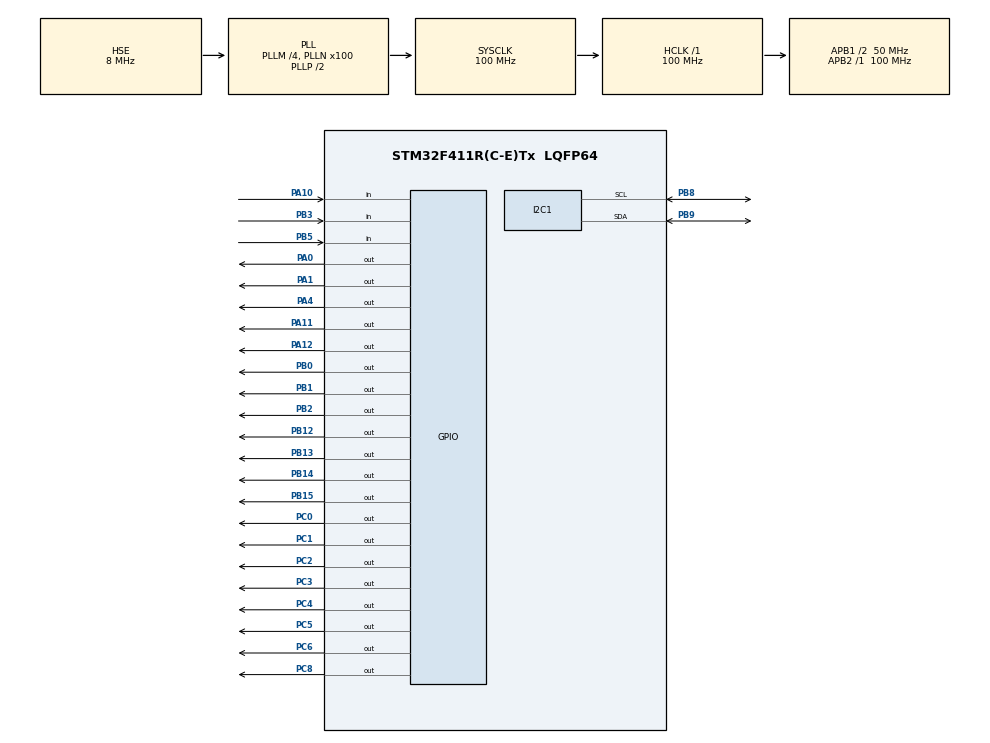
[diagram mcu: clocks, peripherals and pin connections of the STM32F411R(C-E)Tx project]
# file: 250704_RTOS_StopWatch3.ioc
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FREERTOS.Tasks01=defaultTask,0,128,StartDefaultTask,Default,NULL,Dynamic,NULL,NULL;myListenerTask,0,128,StartListenerTask,Default,NULL,Dynamic,NULL,NULL;myControllerTas,0,128,StartControllerTask,Default,NULL,Dynamic,NULL,NULL;myPresenterTask,0,128,StartPresenterTask,Default,NULL,Dynamic,NULL,NULL
FREERTOS.configUSE_NEWLIB_REENTRANT=1
Mcu.Family=STM32F4
Mcu.Name=STM32F411R(C-E)Tx
Mcu.Package=LQFP64
NVIC.PriorityGroup=NVIC_PRIORITYGROUP_4
NVIC.TIM1_TRG_COM_TIM11_IRQn=true\:15\:0\:false\:false\:true\:false\:false\:true\:true
NVIC.TIM2_IRQn=true\:5\:0\:false\:false\:true\:true\:true\:true\:true
NVIC.TimeBase=TIM1_TRG_COM_TIM11_IRQn
NVIC.TimeBaseIP=TIM11
PA0-WKUP.Signal=GPIO_Output
PA1.Signal=GPIO_Output
PA10.Signal=GPIO_Input
PA11.Signal=GPIO_Output
PA12.Signal=GPIO_Output
PA13.Mode=Serial_Wire
PA13.Signal=SYS_JTMS-SWDIO
PA14.Mode=Serial_Wire
PA14.Signal=SYS_JTCK-SWCLK
PA4.Signal=GPIO_Output
PB0.Signal=GPIO_Output
PB1.Signal=GPIO_Output
PB12.Signal=GPIO_Output
PB13.Signal=GPIO_Output
PB14.Signal=GPIO_Output
PB15.Signal=GPIO_Output
PB2.Signal=GPIO_Output
PB3.Signal=GPIO_Input
PB5.Signal=GPIO_Input
PB8.Mode=I2C
PB8.Signal=I2C1_SCL
PB9.Mode=I2C
PB9.Signal=I2C1_SDA
PC0.Signal=GPIO_Output
PC1.Signal=GPIO_Output
PC2.Signal=GPIO_Output
PC3.Signal=GPIO_Output
PC4.Signal=GPIO_Output
PC5.Signal=GPIO_Output
PC6.Signal=GPIO_Output
PC8.Signal=GPIO_Output
PH0\ -\ OSC_IN.Mode=HSE-External-Oscillator
PH0\ -\ OSC_IN.Signal=RCC_OSC_IN
PH1\ -\ OSC_OUT.Mode=HSE-External-Oscillator
PH1\ -\ OSC_OUT.Signal=RCC_OSC_OUT
ProjectManager.HeapSize=0x200
ProjectManager.StackSize=0x400
ProjectManager.TargetToolchain=STM32CubeIDE
RCC.48MHZClocksFreq_Value=50000000
RCC.AHBFreq_Value=100000000
RCC.APB1CLKDivider=RCC_HCLK_DIV2
RCC.APB1Freq_Value=50000000
RCC.APB1TimFreq_Value=100000000
RCC.APB2Freq_Value=100000000
RCC.APB2TimFreq_Value=100000000
RCC.CortexFreq_Value=100000000
RCC.HCLKFreq_Value=100000000
RCC.HSE_VALUE=8000000
RCC.HSI_VALUE=16000000
RCC.LSE_VALUE=32768
RCC.PLLM=4
RCC.PLLN=100
RCC.PLLSourceVirtual=RCC_PLLSOURCE_HSE
RCC.SYSCLKFreq_VALUE=100000000
RCC.SYSCLKSource=RCC_SYSCLKSOURCE_PLLCLK
RCC.VCOOutputFreq_Value=200000000
TIM2.Period=1000-1
TIM2.Prescaler=100-1
VP_FREERTOS_VS_CMSIS_V1.Mode=CMSIS_V1
VP_SYS_VS_tim11.Mode=TIM11
VP_TIM2_VS_ClockSourceINT.Mode=Internal
board=custom

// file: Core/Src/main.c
/* USER CODE BEGIN Header */
/**
 ******************************************************************************
 * @file           : main.c
 * @brief          : Main program body
 ******************************************************************************
 * @attention
 *
 * Copyright (c) 2025 STMicroelectronics.
 * All rights reserved.
 *
 * This software is licensed under terms that can be found in the LICENSE file
 * in the root directory of this software component.
 * If no LICENSE file comes with this software, it is provided AS-IS.
 *
 ******************************************************************************
 */
/* USER CODE END Header */
#include "main.h"
#include "cmsis_os.h"
#include "i2c.h"
#include "tim.h"
#include "gpio.h"

/* USER CODE BEGIN Includes */
#include "StopWatch.h"
#include "TimeWatch.h"
/* USER CODE END Includes */

void SystemClock_Config(void);
void MX_FREERTOS_Init(void);

int main(void)
{

  /* MCU Configuration--------------------------------------------------------*/

  /* Reset of all peripherals, Initializes the Flash interface and the Systick. */
  HAL_Init();

  /* Configure the system clock */
  SystemClock_Config();

  /* Initialize all configured peripherals */
  MX_GPIO_Init();
  MX_I2C1_Init();
  MX_TIM2_Init();

  /* Call init function for freertos objects (in cmsis_os2.c) */
  MX_FREERTOS_Init();

  /* Start scheduler */
  osKernelStart();

  /* We should never get here as control is now taken by the scheduler */

  /* Infinite loop */
	while (1)
	{

	}
}

void SystemClock_Config(void)
{
  RCC_OscInitTypeDef RCC_OscInitStruct = {0};
  RCC_ClkInitTypeDef RCC_ClkInitStruct = {0};

  /** Configure the main internal regulator output voltage
  */
  __HAL_RCC_PWR_CLK_ENABLE();
  __HAL_PWR_VOLTAGESCALING_CONFIG(PWR_REGULATOR_VOLTAGE_SCALE1);

  /** Initializes the RCC Oscillators according to the specified parameters
  * in the RCC_OscInitTypeDef structure.
  */
  RCC_OscInitStruct.OscillatorType = RCC_OSCILLATORTYPE_HSE;
  RCC_OscInitStruct.HSEState = RCC_HSE_ON;
  RCC_OscInitStruct.PLL.PLLState = RCC_PLL_ON;
  RCC_OscInitStruct.PLL.PLLSource = RCC_PLLSOURCE_HSE;
  RCC_OscInitStruct.PLL.PLLM = 4;
  RCC_OscInitStruct.PLL.PLLN = 100;
  RCC_OscInitStruct.PLL.PLLP = RCC_PLLP_DIV2;
  RCC_OscInitStruct.PLL.PLLQ = 4;
  if (HAL_RCC_OscConfig(&RCC_OscInitStruct) != HAL_OK)
  {
    Error_Handler();
  }

  /** Initializes the CPU, AHB and APB buses clocks
  */
  RCC_ClkInitStruct.ClockType = RCC_CLOCKTYPE_HCLK|RCC_CLOCKTYPE_SYSCLK
                              |RCC_CLOCKTYPE_PCLK1|RCC_CLOCKTYPE_PCLK2;
  RCC_ClkInitStruct.SYSCLKSource = RCC_SYSCLKSOURCE_PLLCLK;
  RCC_ClkInitStruct.AHBCLKDivider = RCC_SYSCLK_DIV1;
  RCC_ClkInitStruct.APB1CLKDivider = RCC_HCLK_DIV2;
  RCC_ClkInitStruct.APB2CLKDivider = RCC_HCLK_DIV1;

  if (HAL_RCC_ClockConfig(&RCC_ClkInitStruct, FLASH_LATENCY_3) != HAL_OK)
  {
    Error_Handler();
  }
}

void HAL_TIM_PeriodElapsedCallback(TIM_HandleTypeDef *htim)
{
  if (htim->Instance == TIM11)
  {
    HAL_IncTick();
  }
  /* USER CODE BEGIN Callback 1 */
	if (htim->Instance == TIM2) {
		FND_DispDataCallBack();
		StopWatch_IncTimeCallBack();
		TimeWatch_IncTimeCallBack();
	}
  /* USER CODE END Callback 1 */
}

void Error_Handler(void)
{
	__disable_irq();
	while (1)
	{
	}
}

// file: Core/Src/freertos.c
/* USER CODE BEGIN Header */
/**
 ******************************************************************************
 * File Name          : freertos.c
 * Description        : Code for freertos applications
 ******************************************************************************
 * @attention
 *
 * Copyright (c) 2025 STMicroelectronics.
 * All rights reserved.
 *
 * This software is licensed under terms that can be found in the LICENSE file
 * in the root directory of this software component.
 * If no LICENSE file comes with this software, it is provided AS-IS.
 *
 ******************************************************************************
 */
/* USER CODE END Header */

#include "FreeRTOS.h"
#include "task.h"
#include "main.h"
#include "cmsis_os.h"

/* USER CODE BEGIN Includes */
#include <stdio.h>
#include "tim.h"
#include "Listener.h"
#include "Controller.h"
#include "Presenter.h"
#include "Model_StopWatch.h"
#include "Model_Mode.h"
#include "Model_TimeWatch.h"
/* USER CODE END Includes */

osThreadId defaultTaskHandle;
osThreadId myListenerTaskHandle;
osThreadId myControllerTasHandle;
osThreadId myPresenterTaskHandle;

void StartDefaultTask(void const * argument);
void StartListenerTask(void const * argument);
void StartControllerTask(void const * argument);
void StartPresenterTask(void const * argument);

void MX_FREERTOS_Init(void); /* (MISRA C 2004 rule 8.1) */

/* GetIdleTaskMemory prototype (linked to static allocation support) */
void vApplicationGetIdleTaskMemory( StaticTask_t **ppxIdleTaskTCBBuffer, StackType_t **ppxIdleTaskStackBuffer, uint32_t *pulIdleTaskStackSize );

/* USER CODE BEGIN GET_IDLE_TASK_MEMORY */
static StaticTask_t xIdleTaskTCBBuffer;
static StackType_t xIdleStack[configMINIMAL_STACK_SIZE];

void vApplicationGetIdleTaskMemory( StaticTask_t **ppxIdleTaskTCBBuffer, StackType_t **ppxIdleTaskStackBuffer, uint32_t *pulIdleTaskStackSize )
{
	*ppxIdleTaskTCBBuffer = &xIdleTaskTCBBuffer;
	*ppxIdleTaskStackBuffer = &xIdleStack[0];
	*pulIdleTaskStackSize = configMINIMAL_STACK_SIZE;
	/* place for user code */
}
/* USER CODE END GET_IDLE_TASK_MEMORY */

void MX_FREERTOS_Init(void) {

  /* Create the thread(s) */
  /* definition and creation of defaultTask */
  osThreadDef(defaultTask, StartDefaultTask, osPriorityNormal, 0, 128);
  defaultTaskHandle = osThreadCreate(osThread(defaultTask), NULL);

  /* definition and creation of myListenerTask */
  osThreadDef(myListenerTask, StartListenerTask, osPriorityNormal, 0, 128);
  myListenerTaskHandle = osThreadCreate(osThread(myListenerTask), NULL);

  /* definition and creation of myControllerTas */
  osThreadDef(myControllerTas, StartControllerTask, osPriorityNormal, 0, 128);
  myControllerTasHandle = osThreadCreate(osThread(myControllerTas), NULL);

  /* definition and creation of myPresenterTask */
  osThreadDef(myPresenterTask, StartPresenterTask, osPriorityNormal, 0, 128);
  myPresenterTaskHandle = osThreadCreate(osThread(myPresenterTask), NULL);

  /* USER CODE BEGIN RTOS_THREADS */
  Model_StopWatchInit();
  Model_timeWatchInit();
  Model_ModeInit();
  HAL_TIM_Base_Start_IT(&htim2);
	/* add threads, ... */
  /* USER CODE END RTOS_THREADS */

}

void StartDefaultTask(void const * argument)
{
	for(;;)
	{
		osDelay(1);
	}
}

void StartListenerTask(void const * argument)
{
  /* USER CODE BEGIN StartListenerTask */
	Listener_Init();
  /* Infinite loop */
  for(;;)
  {
	  Listener_Execute();
    osDelay(1);
  }
  /* USER CODE END StartListenerTask */
}

void StartControllerTask(void const * argument)
{
  /* USER CODE BEGIN StartControllerTask */
	Controller_Init();
  /* Infinite loop */
  for(;;)
  {
	  Controller_Execute();
    osDelay(1);
  }
  /* USER CODE END StartControllerTask */
}

void StartPresenterTask(void const * argument)
{
  /* USER CODE BEGIN StartPresenterTask */
	Presenter_Init();
  /* Infinite loop */
  for(;;)
  {
	  Presenter_Execute();
    osDelay(1);
  }
  /* USER CODE END StartPresenterTask */
}
